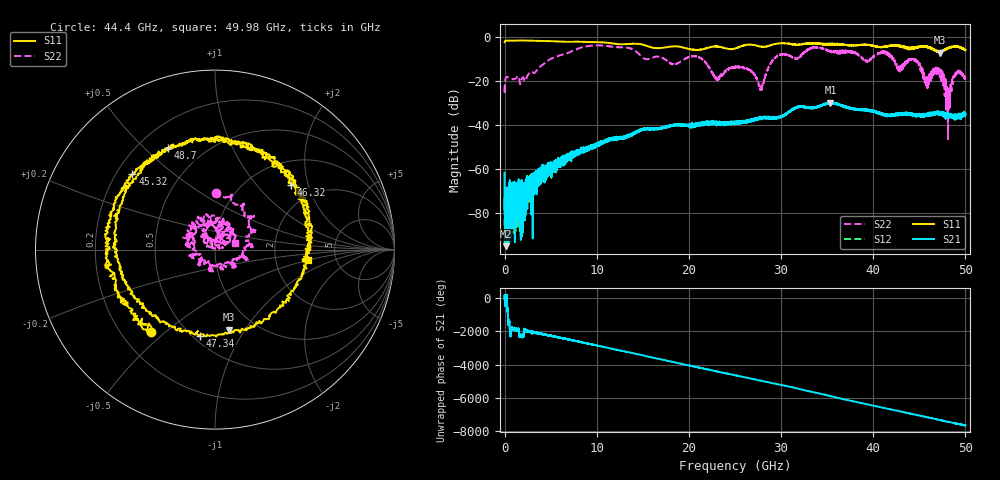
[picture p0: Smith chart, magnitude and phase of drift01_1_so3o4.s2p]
!Created with skrf (http://scikit-rf.org).
# Hz S RI R 50.0
!freq ReS11 ImS11 ReS21 ImS21 ReS12 ImS12 ReS22 ImS22
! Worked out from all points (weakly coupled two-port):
!   10001 points, 300 kHz to 50 GHz, reference 50 ohm
!   highest |S21| = -29.64 dB at 35.35 GHz (marker M1); lowest = -95.0 dB at 155.3 MHz (marker M2)
!   lowest |S11| = -6.9 dB at 47.2 GHz (marker M3), VSWR 2.66, Z = 37.8 - j42.5 ohm
!   |S11| at or under -10 dB: nowhere
!   |S22| runs from -46.4 to -3.6 dB; largest |S21 - S12| = 0.004
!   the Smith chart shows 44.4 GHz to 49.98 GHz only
!   S11 on the Smith chart (normalised r, x): 44.4 GHz: 0.32, -0.45; 45.32 GHz: 0.26, +0.37; 46.32 GHz: 1.50, +1.56; 47.34 GHz: 0.54, -0.68; 48.7 GHz: 0.32, +0.59; 49.98 GHz: 3.09, -0.47
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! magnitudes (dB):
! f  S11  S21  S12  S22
! 300 kHz  -2.2  -61.6  -64.0  -22.1
! 155.3 MHz  -1.5  -95.0  -76.6  -18.1
! 8.335 GHz  -2.0  -52.4  -51.5  -4.5
! 16.67 GHz  -4.9  -41.5  -41.5  -8.7
! 20.96 GHz  -5.6  -39.7  -39.5  -8.8
! 23.07 GHz  -4.1  -39.7  -39.0  -18.3
! 25 GHz  -5.0  -38.6  -38.7  -13.5
! 27.83 GHz  -4.2  -36.4  -36.8  -22.3
! 29.48 GHz  -2.9  -36.9  -36.7  -8.8
! 33.34 GHz  -2.6  -32.1  -31.8  -4.7
! 35.35 GHz  -3.2  -29.6  -30.0  -6.2
! 41.67 GHz  -3.9  -35.6  -35.5  -7.4
! 42.82 GHz  -3.9  -34.9  -35.0  -13.2
! 44.4 GHz  -4.7  -34.9  -35.2  -10.0
! 45.32 GHz  -4.1  -35.5  -35.2  -15.5
! 46.32 GHz  -5.1  -34.6  -34.9  -16.3
! 47.2 GHz  -6.9  -34.3  -34.6  -16.0
! 47.34 GHz  -6.3  -34.6  -34.5  -15.2
! 48.12 GHz  -4.9  -35.2  -35.4  -42.6
! 48.7 GHz  -4.1  -36.8  -36.2  -18.5
! 49.98 GHz  -5.7  -35.6  -34.6  -18.6
! 50 GHz  -5.6  -34.8  -35.0  -18.9
